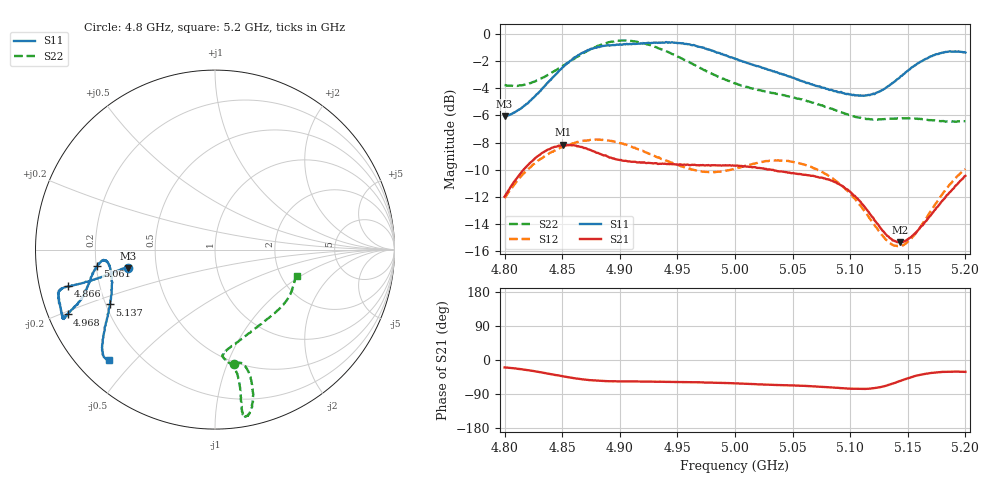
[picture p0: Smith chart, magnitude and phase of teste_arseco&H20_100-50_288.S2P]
! Network Analyzer HP8722D
! Hewlett-Packard
! Data name: Linha & Wilkinson
! Saver's name: Rodrigo Anjos
! Comments: Teste da utilização de aquisição
! continua pelo VNA HP8722D
! Time and date: 6/5/2025 14:58
!  Frequency  S11  S21  S12  S22
# HZ  S  MA R 50
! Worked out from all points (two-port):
!   401 points, 4.8 GHz to 5.2 GHz, reference 50 ohm
!   highest |S21| = -8.16 dB at 4.851 GHz (marker M1); lowest = -15.3 dB at 5.143 GHz (marker M2)
!   |S21| within 3 dB of the highest: 4.806 GHz to 5.092 GHz (286.3 MHz wide, 5.79 % of centre); 5.191797 GHz to end of sweep
!   lowest |S11| = -6.1 dB at 4.8 GHz (marker M3), VSWR 2.97, Z = 17 - j4.59 ohm
!   |S11| at or under -10 dB: nowhere
!   |S22| runs from -6.5 to -0.5 dB; largest |S21 - S12| = 0.62
!   S11 on the Smith chart (normalised r, x): 4.8 GHz: 0.34, -0.09; 4.866 GHz: 0.09, -0.12; 4.968 GHz: 0.06, -0.21; 5.061 GHz: 0.20, -0.07; 5.137 GHz: 0.22, -0.23; 5.2 GHz: 0.09, -0.43
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4.8e9  0.4966 -168.2  0.2521 -19.8  0.2488 -140.9  0.6478 -80.4
4.823e9  0.5703 -167.5  0.338 -28.1  0.3246 -143.8  0.6597 -76.0
4.851e9  0.7559 -165.8  0.391 -43.4  0.3842 -149.2  0.7643 -74.6
4.866e9  0.8443 -166.0  0.384 -50.4  0.4027 -151.8  0.8373 -75.2
4.867e9  0.8495 -165.9  0.3837 -50.8  0.4032 -151.9  0.8436 -75.5
4.883e9  0.8966 -165.1  0.3617 -55.1  0.4081 -154.7  0.9091 -77.2
4.9e9  0.9146 -162.7  0.3436 -56.3  0.3965 -156.5  0.9431 -79.1
4.934e9  0.9285 -156.3  0.3327 -57.4  0.3513 -155.7  0.8829 -80.5
4.968e9  0.897 -156.3  0.3289 -59.0  0.3131 -147.6  0.7556 -79.7
5e9  0.8111 -159.0  0.3275 -61.8  0.3196 -137.2  0.657 -81.3
5.036e9  0.7231 -165.6  0.3137 -66.0  0.3421 -134.4  0.6013 -85.7
5.061e9  0.6626 -172.0  0.3033 -68.4  0.3297 -136.3  0.5691 -83.9
5.067e9  0.6515 -173.1  0.3007 -69.1  0.323 -136.8  0.558 -82.6
5.086e9  0.6158 -174.4  0.2858 -72.8  0.2911 -138.4  0.5259 -75.3
5.103e9  0.5971 -171.5  0.2551 -76.2  0.2498 -138.7  0.4973 -65.2
5.118e9  0.5982 -164.3  0.2154 -75.1  0.2068 -134.5  0.4846 -54.3
5.134e9  0.6455 -154.3  0.1782 -65.4  0.1706 -120.7  0.487 -43.2
5.137e9  0.6613 -152.5  0.1737 -62.3  0.1674 -116.8  0.4882 -41.4
5.143e9  0.6908 -149.2  0.1713 -55.7  0.1661 -108.8  0.4889 -38.0
5.154e9  0.7547 -144.6  0.1809 -44.5  0.1789 -95.0  0.4881 -32.3
5.173e9  0.8347 -138.8  0.224 -33.4  0.2334 -80.8  0.4808 -24.2
5.2e9  0.853 -133.6  0.3006 -31.3  0.3186 -76.9  0.4773 -17.7
